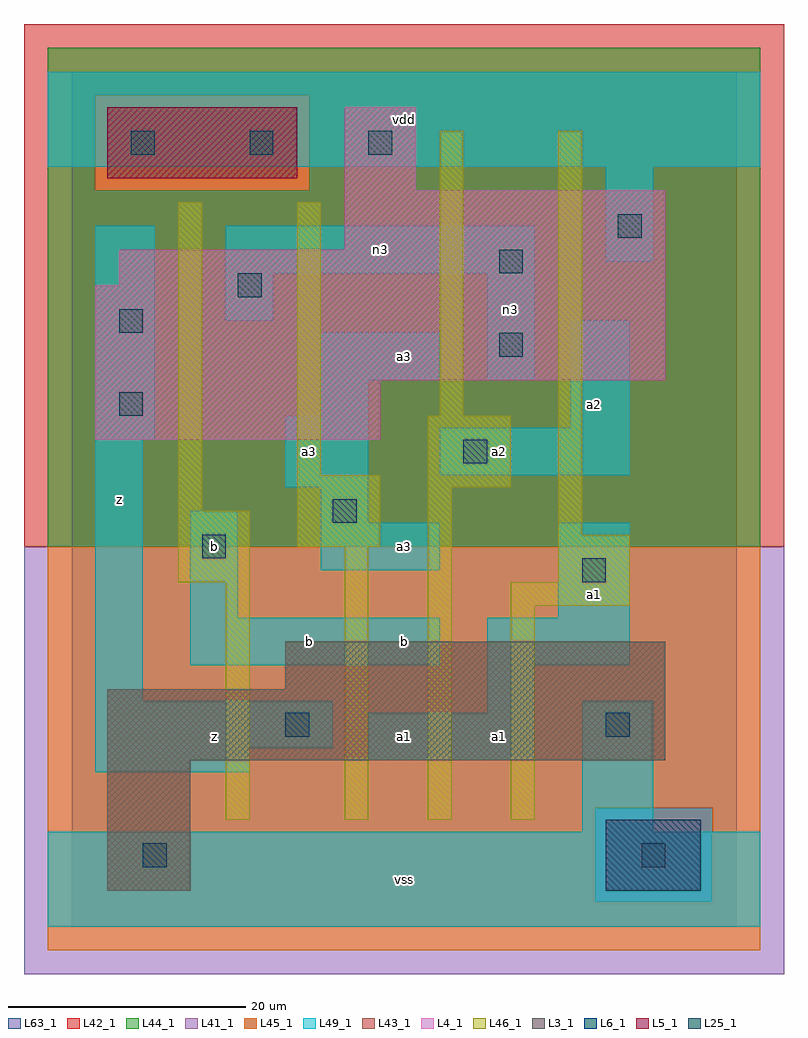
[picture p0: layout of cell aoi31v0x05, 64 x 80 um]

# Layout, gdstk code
import gdstk
lib = gdstk.Library(unit=1e-6, precision=1e-09)
def R(c, l, rs):  # rectangles x0, y0, x1, y1
    for r in rs: c.add(gdstk.rectangle(r[:2], r[2:], *l))
def A(c, l, x, y, w, h, nx, ny, dx, dy):  # array of equal rectangles
    R(c, l, [(x+i*dx, y+j*dy, x+i*dx+w, y+j*dy+h) for i in range(nx) for j in range(ny)])
L3_1 = (3, 1)
L4_1 = (4, 1)
L5_1 = (5, 1)
L6_1 = (6, 1)
L25_1 = (25, 1)
L41_1 = (41, 1)
L42_1 = (42, 1)
L43_1 = (43, 1)
L44_1 = (44, 1)
L45_1 = (45, 1)
L46_1 = (46, 1)
L49_1 = (49, 1)
L63_1 = (63, 1)

aoi31v0x05 = lib.new_cell('aoi31v0x05')
R(aoi31v0x05, L3_1, [(3,3,10,14), (3,14,50,20), (18,20,50,24)])
R(aoi31v0x05, L4_1, [(2,41,26,46), (2,46,50,54), (4,54,50,57), (23,57,50,62), (23,62,29,69)])
R(aoi31v0x05, L5_1, [(3,63,19,69)])
R(aoi31v0x05, L6_1, [(45,3,53,9), (45,3,53,9)])
A(aoi31v0x05, L25_1, 5, 65, 2, 2, 3, 1, 10, 0)
R(aoi31v0x05, L25_1, [(6,5,8,7), (48,5,50,7), (18,16,20,18), (45,16,47,18), (43,29,45,31), (11,31,13,33), (22,34,24,36), (33,39,35,41), (4,43,6,45), (36,48,38,50), (4,50,6,52), (14,53,16,55), (36,55,38,57), (46,58,48,60)])
R(aoi31v0x05, L41_1, [(-4,-4,60,32)])
R(aoi31v0x05, L42_1, [(-4,32,60,76)])
R(aoi31v0x05, L43_1, [(3,3,10,14), (45,3,53,9), (3,14,50,20), (18,20,50,24), (2,41,26,46), (2,46,50,54), (4,54,50,57), (23,57,50,62), (23,62,29,69), (3,63,19,69)])
R(aoi31v0x05, L44_1, [(44,2,54,10), (-2,32,58,62), (-2,62,2,70), (20,62,58,70), (-2,70,58,74)])
R(aoi31v0x05, L45_1, [(-2,-2,58,2), (-2,2,44,10), (54,2,58,10), (-2,10,58,32), (2,62,20,70)])
R(aoi31v0x05, L46_1, [(13,9,15,29), (23,9,25,32), (30,9,32,37), (37,9,39,27), (37,27,47,29), (9,29,15,35), (41,29,47,33), (19,32,26,38), (41,33,43,67), (9,35,11,61), (30,37,37,43), (19,38,21,61), (31,43,33,67)])
R(aoi31v0x05, L49_1, [(-2,0,58,8), (43,8,49,19), (2,13,15,15), (25,14,39,18), (2,15,22,19), (35,18,39,22), (2,19,6,41), (10,22,31,26), (35,22,47,26), (10,26,14,35), (41,26,47,34), (21,30,31,34), (21,34,25,37), (18,37,25,43), (31,38,47,42), (2,41,7,59), (42,42,47,51), (21,43,25,46), (21,46,31,50), (35,46,39,55), (13,51,17,55), (13,55,39,59), (45,56,49,64), (-2,64,58,72)])
R(aoi31v0x05, L63_1, [(0,0,56,72)])
aoi31v0x05.add(gdstk.Label('z', (4,36), layer=49, texttype=1))
aoi31v0x05.add(gdstk.Label('z', (12,16), layer=49, texttype=1))
aoi31v0x05.add(gdstk.Label('b', (12,32), layer=49, texttype=1))
aoi31v0x05.add(gdstk.Label('vss', (28,4), layer=49, texttype=1))
aoi31v0x05.add(gdstk.Label('a1', (28,16), layer=49, texttype=1))
aoi31v0x05.add(gdstk.Label('b', (20,24), layer=49, texttype=1))
aoi31v0x05.add(gdstk.Label('b', (28,24), layer=49, texttype=1))
aoi31v0x05.add(gdstk.Label('a3', (28,32), layer=49, texttype=1))
aoi31v0x05.add(gdstk.Label('a3', (20,40), layer=49, texttype=1))
aoi31v0x05.add(gdstk.Label('a3', (28,48), layer=49, texttype=1))
aoi31v0x05.add(gdstk.Label('vdd', (28,68), layer=49, texttype=1))
aoi31v0x05.add(gdstk.Label('a1', (36,16), layer=49, texttype=1))
aoi31v0x05.add(gdstk.Label('a1', (44,28), layer=49, texttype=1))
aoi31v0x05.add(gdstk.Label('a2', (36,40), layer=49, texttype=1))
aoi31v0x05.add(gdstk.Label('a2', (44,44), layer=49, texttype=1))
aoi31v0x05.add(gdstk.Label('n3', (37,52), layer=49, texttype=1))
aoi31v0x05.add(gdstk.Label('n3', (26,57), layer=49, texttype=1))

lib.write_gds('aoi31v0x05.gds')
